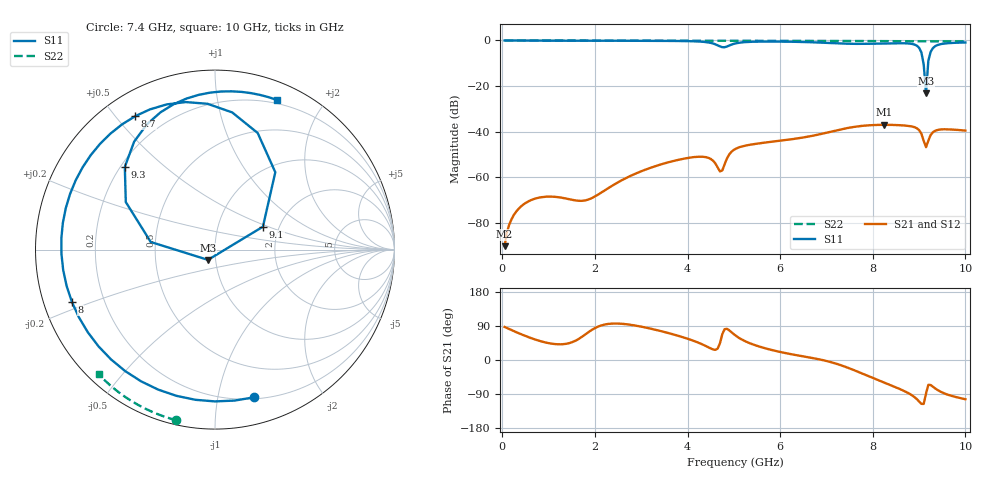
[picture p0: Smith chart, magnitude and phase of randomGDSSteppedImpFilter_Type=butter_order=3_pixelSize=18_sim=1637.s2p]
! freq	dB(S11)	phase(S11)	dB(S12)	phase(S12)
!  dB(S21)	phase(S21)	dB(S22)	phase(S22)
!S-par simulation data
#  GHz  S  DB  R 50
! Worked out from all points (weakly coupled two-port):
!   200 points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, 50 MHz to 10 GHz, reference 50 ohm
!   highest |S21| = -37.02 dB at 8.25 GHz (marker M1); lowest = -90.3 dB at 50 MHz (marker M2)
!   lowest |S11| = -23.2 dB at 9.15 GHz (marker M3), VSWR 1.15, Z = 45.9 - j5.29 ohm
!   |S11| at or under -10 dB: 9.095 GHz to 9.196 GHz (101.4 MHz wide, 1.11 % of centre)
!   |S22| runs from -0.4 to 0.0 dB; largest |S21 - S12| = 0
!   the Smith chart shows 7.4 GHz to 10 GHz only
!   S11 on the Smith chart (normalised r, x): 7.4 GHz: 0.21, -1.27; 8 GHz: 0.08, -0.18; 8.7 GHz: 0.09, +0.56; 9.1 GHz: 1.65, +0.46; 9.3 GHz: 0.22, +0.37; 10 GHz: 0.17, +1.48
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0.05  -0.00 -4.9  -90.28 87.2  -90.28 87.2  -0.00 -0.8
0.8  -0.08 -72.4  -68.95 50.6  -68.95 50.6  -0.02 -12.3
1.75  -0.12 -133.9  -70.32 63.8  -70.32 63.8  -0.03 -26.6
3.4  -0.18 150.7  -54.55 77.0  -54.55 77.0  -0.07 -50.6
4.35  -0.61 83.8  -51.08 39.5  -51.08 39.5  -0.09 -63.8
4.65  -2.13 6.8  -55.66 29.9  -55.66 29.9  -0.10 -67.8
4.8  -2.97 -80.5  -54.37 81.3  -54.37 81.3  -0.10 -69.8
5.05  -1.22 175.9  -47.43 63.4  -47.43 63.4  -0.11 -73.2
5.35  -0.61 130.2  -45.76 44.0  -45.76 44.0  -0.12 -77.1
5.75  -0.48 95.4  -44.62 28.5  -44.62 28.5  -0.14 -82.3
6.7  -0.80 14.6  -41.83 5.2  -41.83 5.2  -0.18 -94.2
7.4  -1.40 -75.3  -38.64 -17.6  -38.64 -17.6  -0.22 -102.8
8  -1.42 -160.0  -37.14 -47.3  -37.14 -47.3  -0.26 -109.9
8.25  -1.30 170.1  -37.02 -59.8  -37.02 -59.8  -0.28 -112.9
8.35  -1.26 159.0  -37.03 -64.7  -37.03 -64.7  -0.29 -114.0
8.7  -1.25 120.8  -37.35 -83.2  -37.35 -83.2  -0.32 -118.1
8.95  -2.27 82.9  -38.51 -103.1  -38.51 -103.1  -0.34 -121.0
9.1  -10.57 25.6  -44.08 -116.0  -44.08 -116.0  -0.36 -122.7
9.15  -23.18 -124.3  -46.84 -88.2  -46.84 -88.2  -0.36 -123.3
9.2  -8.86 173.2  -43.95 -65.6  -43.95 -65.6  -0.36 -123.9
9.3  -3.33 137.5  -40.24 -70.6  -40.24 -70.6  -0.37 -125.0
10  -0.89 67.5  -39.56 -103.5  -39.56 -103.5  -0.45 -133.1
